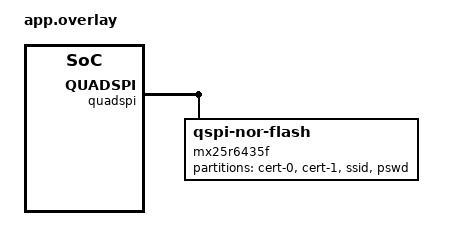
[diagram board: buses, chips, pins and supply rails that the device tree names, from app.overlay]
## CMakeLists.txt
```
cmake_minimum_required(VERSION 3.20.0)

find_package(Zephyr REQUIRED HINTS $ENV{ZEPHYR_BASE})
project(disco_wifi_socket)

FILE(GLOB app_sources src/*.c)
target_sources(app PRIVATE ${app_sources})

set(gen_dir ${ZEPHYR_BINARY_DIR}/include/generated/)

generate_inc_file_for_target(
    app
    certs/CA.der
    ${gen_dir}/CA.der.inc
)
```

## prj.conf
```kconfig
# Wifi config
CONFIG_MAIN_STACK_SIZE=8192
CONFIG_WIFI=y
CONFIG_NETWORKING=y
CONFIG_NET_NATIVE=y
CONFIG_NET_SOCKETS=y
CONFIG_NET_IPV4=y
CONFIG_NET_TCP=y
CONFIG_NET_OFFLOAD=y
CONFIG_NET_SOCKETS_OFFLOAD=n

# Increase these values to increase window size
CONFIG_NET_TCP_MAX_RECV_WINDOW_SIZE=5120
CONFIG_NET_BUF_RX_COUNT=50
CONFIG_NET_BUF_TX_COUNT=10
CONFIG_NET_PKT_RX_COUNT=5
CONFIG_NET_PKT_TX_COUNT=6
CONFIG_NET_BUF_DATA_SIZE=146

# Shell
CONFIG_SHELL=y
CONFIG_SHELL_STACK_SIZE=8192
# CONFIG_NET_SHELL=y

# FLash
CONFIG_FLASH=y
CONFIG_FLASH_MAP=y
CONFIG_STREAM_FLASH=y
CONFIG_FLASH_PAGE_LAYOUT=y
CONFIG_FLASH_SHELL=y

# Logs
# CONFIG_LOG=y
# CONFIG_NET_LOG=y
# Deferred logging. Log messages are buffered and processed later. This mode has the least impact on the application. 
# CONFIG_LOG_MODE_DEFERRED=y
# Log is processed in the context of the call. It impacts performance of the system.
CONFIG_LOG_MODE_IMMEDIATE=y

# DFU 
CONFIG_REBOOT=y
CONFIG_IMG_MANAGER=y
CONFIG_MCUBOOT_IMG_MANAGER=y
CONFIG_BOOTLOADER_MCUBOOT=y
CONFIG_MCUBOOT_SIGNATURE_KEY_FILE="bootloader/mcuboot/mykey.pem"
# CONFIG_MCUBOOT_ENCRYPTION_KEY_FILE="bootloader/mcuboot/pub-key-rsa-2048.pem"
CONFIG_BOOT_BANNER=n
```

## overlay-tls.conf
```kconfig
# TLS configuration
CONFIG_MBEDTLS=y
CONFIG_MBEDTLS_BUILTIN=y
CONFIG_MBEDTLS_ENABLE_HEAP=y
CONFIG_MBEDTLS_HEAP_SIZE=16000
CONFIG_MBEDTLS_SSL_MAX_CONTENT_LEN=2048
CONFIG_MBEDTLS_PEM_CERTIFICATE_FORMAT=y

# Ciphers suites
CONFIG_MBEDTLS_KEY_EXCHANGE_RSA_ENABLED=y
CONFIG_MBEDTLS_KEY_EXCHANGE_DHE_RSA_ENABLED=y
CONFIG_MBEDTLS_CIPHER_AES_ENABLED=y
CONFIG_MBEDTLS_HASH_SHA384_ENABLED=y
CONFIG_MBEDTLS_CIPHER_GCM_ENABLED=y
CONFIG_MBEDTLS_DEBUG=y
# CONFIG_MBEDTLS_LOG_LEVEL_DBG=y

# TLS Sockets configuration
CONFIG_NET_SOCKETS_SOCKOPT_TLS=y
CONFIG_NET_SOCKETS_OFFLOAD_DISPATCHER=y
```

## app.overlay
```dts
&quadspi {
	mx25r6435f: qspi-nor-flash@90000000 {

		partitions {
    
            cert0_partition: partition@d4000 {
                label = "cert-0";
                reg = <0x000d4000 0x00001000>;  /* DT_SIZE_K(4) */
            };

            cert1_partition: partition@d6000 {
                label = "cert-1";
                reg = <0x000d6000 0x00001000>;  /* DT_SIZE_K(4) */
            };

            ssid_partition: partition@d8000 {
                label = "ssid";
                reg = <0x000d8000 0x00001000>;  /* DT_SIZE_K(4) */
            };

            pswd_partition: partition@da000 {
                label = "pswd";
                reg = <0x000da000 0x00001000>;  /* DT_SIZE_K(4) */
            };
        };
    };
};
```

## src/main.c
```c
// Includes
#include <zephyr/kernel.h>
#include <zephyr/device.h>
#include <string.h>
#include "common.h"
#include <zephyr/logging/log.h>
#include "ca_certificate.h"
#include <zephyr/dfu/mcuboot.h>

// Main
int main(void){
	if (boot_write_img_confirmed()<0) {
		printf("\r\nCan't confirm image\r\n");
	}
	
	k_thread_suspend(blink_led_id);

	// First firmware flash then comment
	flash_load_first_cert(ca_certificate);

	WiFi_Init();
	// wifi_connect_if_cred_registered();

	return 0;
}
```

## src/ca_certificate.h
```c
#ifndef __CA_CERTIFICATE_H__
#define __CA_CERTIFICATE_H__

#define CA_CERTIFICATE_TAG 1
#define TLS_PEER_HOSTNAME "tintin"

static unsigned char ca_certificate[] = {
#include "CA.der.inc"
};

#endif /* __CA_CERTIFICATE_H__ */
```

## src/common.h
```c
#ifndef __COMMON_H__
#define __COMMON_H__

#include <zephyr/kernel.h>

#define MAX_SIZE_BUFFER         2048
#define CERT_SIZE               779
#define FLASH_SECTOR_SIZE		4096
#define SLOT1_PARTITION_SIZE	FIXED_PARTITION_SIZE(slot1_partition)
#define LED0_NODE DT_ALIAS(led0)

// Global variables
static char dataToRecv[MAX_SIZE_BUFFER];

extern const k_tid_t blink_led_id;

extern int state_wifi;

#define HTTP_HOST "https://172.20.10.3" 
#define HTTP_PORT 443
#define REQUEST /*"GET " HTTP_PATH*/ " HTTP/1.0\r\nHost: " HTTP_HOST "\r\n\r\n"

int Socket_Init(void);
int Socket_Send(char *);
int Socket_Close(void);
int Socket_Receive(char*);
int Socket_Receive_to_tab(char*);
int Socket_Receive_firmware_to_flash(void);

void WiFi_Init(void);
int connect_WiFi(char*,char*);

void LED_ON(void);
void LED_OFF(void);
void LED_Init(void);

int flash_load_first_cert(char*);
int flash_load_new_cert(char*);
char* flash_read_cert(int);
int swap_certs(void);
int register_wifi_cred(char* , char* );
int wifi_connect_if_cred_registered(void);



int http_get_new_cert(char*);

void progress_bar(int, int);

#endif
```

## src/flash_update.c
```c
#include <zephyr/device.h>
#include <zephyr/drivers/flash.h>
#include <zephyr/kernel.h>
#include <zephyr/storage/flash_map.h>
#include <zephyr/devicetree.h>
#include <stdio.h>
#include <zephyr/logging/log.h>
#include "common.h"

#define cert0_PARTITION		    cert0_partition
#define cert0_PARTITION_ID	    FIXED_PARTITION_ID(cert0_PARTITION)
#define cert0_PARTITION_DEV	    FIXED_PARTITION_DEVICE(cert0_PARTITION)

#define cert1_PARTITION		    cert1_partition
#define cert1_PARTITION_ID	    FIXED_PARTITION_ID(cert1_PARTITION)
#define cert1_PARTITION_DEV	    FIXED_PARTITION_DEVICE(cert1_PARTITION)

#define SSID_PARTITION          ssid_partition
#define SSID_PARTITION_ID	    FIXED_PARTITION_ID(SSID_PARTITION)
#define SSID_PARTITION_DEV	    FIXED_PARTITION_DEVICE(SSID_PARTITION)

#define PSWD_PARTITION          pswd_partition
#define PSWD_PARTITION_ID	    FIXED_PARTITION_ID(PSWD_PARTITION)
#define PSWD_PARTITION_DEV	    FIXED_PARTITION_DEVICE(PSWD_PARTITION)

#define SSID_SIZE               11
#define PSWD_SIZE               10


LOG_MODULE_REGISTER(flash_update, LOG_LEVEL_DBG);


int flash_load_first_cert(char * cert){
    const struct device *flash_dev;
    off_t fa;

    fa = FIXED_PARTITION_OFFSET(cert0_PARTITION);
    flash_dev = DEVICE_DT_GET(DT_CHOSEN(zephyr_flash_controller));

    LOG_INF("fa_offset : 0x%x", fa);
    LOG_INF("fa_dev : %s", flash_dev->name);
    
    if (!device_is_ready(flash_dev)) {
		LOG_ERR("%s: device not ready.\n", flash_dev->name);
		return 0;
	}

    if(flash_erase(flash_dev, fa, FLASH_SECTOR_SIZE)<0){
        LOG_ERR("Error during flash erase");
        return 0;
    }

    if(flash_write(flash_dev, fa, cert, CERT_SIZE)<0){
        LOG_ERR("Error during flash write");
        return 0;
    }

    LOG_INF("First certificate loaded successfully");
    
    return 1;
}

int flash_load_new_cert(char * cert){
    const struct device *flash_dev;
    off_t fa;

    fa = FIXED_PARTITION_OFFSET(cert1_PARTITION);
    flash_dev = DEVICE_DT_GET(DT_CHOSEN(zephyr_flash_controller));

    LOG_INF("fa_offset : 0x%x", fa);
    LOG_INF("fa_dev : %s", flash_dev->name);
    
    if (!device_is_ready(flash_dev)) {
		LOG_ERR("%s: device not ready.\n", flash_dev->name);
		return 0;
	}

    if(flash_erase(flash_dev, fa, FLASH_SECTOR_SIZE)<0){
        LOG_ERR("Error during flash erase");
        return 0;
    }

    if(flash_write(flash_dev, fa, cert, CERT_SIZE)<0){
        LOG_ERR("Error during flash write");
        return 0;
    }

    LOG_INF("New certificate loaded successfully");
    
    return 1;
}

int flash_update_cert(void){
    return 1;
}

char * flash_read_cert(int part_number){
    char *cert;
    const struct device *flash_dev;
    off_t fa;

    if (!part_number) {
        cert = malloc(CERT_SIZE);  
        if (cert == NULL) {
            LOG_ERR("Memory allocation failed.");
            return NULL;
        }
        fa = FIXED_PARTITION_OFFSET(cert0_PARTITION);
        flash_dev = DEVICE_DT_GET(DT_NODELABEL(mx25r6435f));
    }
    else {
        cert = malloc(CERT_SIZE);  
        if (cert == NULL) {
            LOG_ERR("Memory allocation failed.");
            return NULL;
        }
        fa = FIXED_PARTITION_OFFSET(cert1_PARTITION);
        flash_dev = DEVICE_DT_GET(DT_NODELABEL(mx25r6435f));
    }
    

    if (!device_is_ready(flash_dev)) {
		LOG_ERR("%s: device not ready.\n", flash_dev->name);
		return 0;
	}

    if(flash_read(flash_dev, fa, cert, CERT_SIZE)<0){
        LOG_ERR("Error during flash read");
        return 0;
    }

    // LOG_HEXDUMP_INF(cert, CERT_SIZE, "CERT BUFFER CONTENT");

    return cert;
}

int swap_certs() {
    char *cert;
    char *new_cert;

    // Read partition 1
    cert = flash_read_cert(0);

    // Read partition 2
    new_cert = flash_read_cert(1);

    // Write partition 1
    flash_load_first_cert(new_cert);

    // Write partition 2
    flash_load_new_cert(cert);

    free(new_cert);
    free(cert);

    LOG_INF("Partitions swapped successfully");

    return 1;
}

int register_wifi_cred(char* ssid, char* pswd){
    const struct device *flash_dev;
    off_t fa_ssid;
    off_t fa_pswd;

    fa_ssid = FIXED_PARTITION_OFFSET(SSID_PARTITION);
    fa_pswd = FIXED_PARTITION_OFFSET(PSWD_PARTITION);

    flash_dev = DEVICE_DT_GET(DT_CHOSEN(zephyr_flash_controller));

    LOG_INF("fa_dev : %s", flash_dev->name);
    
    if (!device_is_ready(flash_dev)) {
		LOG_ERR("%s: device not ready.\n", flash_dev->name);
		return 0;
	}

    if(flash_erase(flash_dev, fa_ssid, FLASH_SECTOR_SIZE)<0){
        LOG_ERR("Error during flash erase");
        return 0;
    }

    if(flash_erase(flash_dev, fa_pswd, FLASH_SECTOR_SIZE)<0){
        LOG_ERR("Error during flash erase");
        return 0;
    }

    if(flash_write(flash_dev, fa_ssid, ssid, SSID_SIZE)<0){
        LOG_ERR("Error during flash write");
        return 0;
    }

    if(flash_write(flash_dev, fa_pswd, pswd, PSWD_SIZE)<0){
        LOG_ERR("Error during flash write");
        return 0;
    }

    LOG_INF("Wi-Fi cred loaded successfully");
    
    return 1;
}

int wifi_connect_if_cred_registered(void){
    const struct device *flash_dev;
    off_t fa_ssid;
    off_t fa_pswd;
    char* ssid;
    char* pswd;

    printf("\r\nTrying to connect to wifi\r\n");

    ssid = malloc(SSID_SIZE-1);
    if (ssid == NULL) {
        LOG_ERR("Memory allocation failed.");
        return 0;
    }
    pswd = malloc(PSWD_SIZE-2);
    if (pswd == NULL) {
        LOG_ERR("Memory allocation failed.");
        return 0;
    }

    fa_ssid = FIXED_PARTITION_OFFSET(SSID_PARTITION);
    fa_pswd = FIXED_PARTITION_OFFSET(PSWD_PARTITION);

    flash_dev = DEVICE_DT_GET(DT_CHOSEN(zephyr_flash_controller));

    if (!device_is_ready(flash_dev)) {
		LOG_ERR("%s: device not ready.\n", flash_dev->name);
        free(ssid);
        free(pswd);
		return 0;
	}

    if(flash_read(flash_dev, fa_ssid, ssid, SSID_SIZE)<0){
        LOG_ERR("Error during flash read");
        free(ssid);
        free(pswd);
        return 0;
    }

    if(flash_read(flash_dev, fa_pswd, pswd, PSWD_SIZE)<0){
        LOG_ERR("Error during flash read");
        free(ssid);
        free(pswd);
        return 0;
    }

    printf("\r\nSSID : %s\r\n", ssid);
    printf("\r\nPSWD : %s\r\n", pswd);

    if(strcmp(ssid[0], 0xff)==0){
        LOG_INF("Wifi creds not registered");
        return 0;
    }
    
    if(!connect_WiFi(ssid,pswd)) {
        free(ssid);
        free(pswd);
        return 0;
    }

    free(ssid);
    free(pswd);
    state_wifi=1;
    printf("\r\nSuccessfully connected to Wi-Fi\r\n");
    return 1;

}
```

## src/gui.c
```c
#include <stdio.h>
#include "common.h"

void progress_bar(int progress, int max){
    const int bar_width = 30;
    int filled_length = (progress * bar_width) / max;
    int remaining_length = bar_width - filled_length;
    int percentage = (progress*100)/max;
    if (percentage>=100) {
        percentage = 100;
    }
    if(percentage==1){
        for (int i = 0; i<100; i++) {
            printf(" ");
        }
        printf("\r");
    }
    

    printf("[");
    for (int i = 0; i < filled_length; i++) {
        printf("#");
    }
    for (int i = 0; i < remaining_length; i++) {
        printf(".");
    }
    printf("] %3d%%\r", percentage);
    fflush(stdout); 
}
```

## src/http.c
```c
#include <zephyr/kernel.h>
#include <zephyr/logging/log.h>
#include <stdlib.h>
#include "common.h"

#define CERT_PATH "/certs/CA.pem"
#define REQUEST_NEW_CERT "GET " CERT_PATH " HTTP/1.0\r\nHost: " HTTP_HOST "\r\n\r\n"

int http_get_new_cert(char* new_cert){
    Socket_Init();
    Socket_Send(REQUEST_NEW_CERT);
    Socket_Receive_to_tab(new_cert);
    Socket_Close();
    return 1;
}
```

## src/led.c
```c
#include <zephyr/drivers/gpio.h>
#include <zephyr/logging/log.h>
#include "common.h"

LOG_MODULE_REGISTER(led, LOG_LEVEL_DBG);

static const struct gpio_dt_spec led = GPIO_DT_SPEC_GET(LED0_NODE, gpios);

void LED_ON(void){
	gpio_pin_set_dt(&led,1);
	LOG_INF("LED ON");
}

void LED_OFF(void){
	gpio_pin_set_dt(&led,0);
	LOG_INF("LED OFF");

}

void LED_Init(void){
	// Initialisation LED
	gpio_pin_configure_dt(&led, GPIO_OUTPUT_ACTIVE);
	LED_OFF();
	LOG_INF("LED initialized");
}
```

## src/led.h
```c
#ifndef SRC_LED_H_
#define SRC_LED_H_

void LED_Init(void);
void LED_ON(void);
void LED_OFF(void);

#endif /* SRC_LED_H_ */
```

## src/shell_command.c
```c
#include <zephyr/kernel.h>
#include <zephyr/shell/shell.h>
#include <zephyr/logging/log.h>
#include <stdlib.h>
#include <zephyr/drivers/uart.h>
#include <zephyr/usb/usb_device.h>
#include <ctype.h>
#include "common.h"
#include <zephyr/net/tls_credentials.h>
#include "ca_certificate.h"
#include <zephyr/sys/reboot.h>
#include <zephyr/dfu/mcuboot.h>

int state_wifi=0;

// Led commands

SHELL_STATIC_SUBCMD_SET_CREATE(led_perso,
        SHELL_CMD_ARG(on, NULL, "Led ON", LED_ON,1,0),
        SHELL_CMD_ARG(off, NULL, "Led OFF", LED_OFF,1,0),
        SHELL_SUBCMD_SET_END
);

SHELL_CMD_REGISTER(led, &led_perso, "Wifi shell commands", NULL);


// Wifi commands

static int wifi_connect(const struct shell *sh,
                            size_t argc, char **argv)
{       
    if(!state_wifi){
        if(argc==3){
            static int ret = 0;
            ret = connect_WiFi(argv[1],argv[2]);
            if(!ret){
                shell_print(sh, "Error when trying to connect");
            }
            else{
                shell_print(sh, "Successfully connected");
                state_wifi=1;
                ret = register_wifi_cred(argv[1] , argv[2]);
                if (!ret) {
                    shell_print(sh, "Error during wifi cred registration");
                }
                return 1;
            }
        }
        else if(argc<3){
            shell_print(sh, "Too few arguments");
            return 0;         
        }
        else{
            shell_print(sh, "Too much arguments");          
            return 0;         
        }
    }
    else {
        shell_print(sh, "Already connected to Wi-Fi");
    }
}

SHELL_STATIC_SUBCMD_SET_CREATE(wifi_perso,
        SHELL_CMD_ARG(connect, NULL, "Connect to Wi-Fi\n This command requires 2 arguments : wifi connect <SSID> <PSWD>", wifi_connect,1,2),
        SHELL_SUBCMD_SET_END
);

SHELL_CMD_REGISTER(wifi, &wifi_perso, "Wifi shell commands", NULL);


// HTTP commands

static int http_request(const struct shell *sh,
                            size_t argc, char **argv)
{
    if(state_wifi){
        if(argc==2){
            static int ret = 0;
            char* get_request[100];

            ret = Socket_Init();
            if(!ret){
                shell_print(sh, "Error during socket connection");
                Socket_Close();
                return 0;
            }
            strcpy(get_request,"GET ");        
            strcat(get_request,argv[1]);
            strcat(get_request,REQUEST);

            ret = Socket_Send(get_request);
            if(!ret){
                shell_print(sh, "Error while sending request");
                Socket_Close();
                return 0;
            }

            ret = Socket_Receive(dataToRecv);
            if(!ret){
                // shell_print(sh, "Error while receiving data");
                Socket_Close();
                return 0;
            }

            Socket_Close();

            return 1;
        }
        else{
            shell_print(sh, "Please specify the relative path of the file you want to get.");
        }
    }
    else{
        shell_print(sh, "Device not connected to wifi, please connect before sending http request.");
    }
}

SHELL_STATIC_SUBCMD_SET_CREATE(http_perso,
        SHELL_CMD_ARG(get, NULL, "Send HTTP request\n This command requires one argument : $ http get <file_relative_path>", http_request, 1, 1),
        SHELL_SUBCMD_SET_END
);

SHELL_CMD_REGISTER(http, &http_perso, "HTTP shell commands", NULL);


// Socket commands

static int socket_receive(const struct shell *sh,
                            size_t argc, char **argv)
{
    if(state_wifi){
        static int ret = 0;

        ret = Socket_Init();

        if(!ret){
            shell_print(sh, "Error during socket connection");
            Socket_Close();
            return 0;
        }

        ret = Socket_Receive(dataToRecv);

        if(!ret){
            shell_print(sh, "Error while receiving data");
            Socket_Close();
            return 0;
        }

        Socket_Close();

        return 1;
    }
    else{
        shell_print(sh, "Device not connected to wifi, please connect before using socket");
    }
}

static int socket_send(const struct shell *sh,
                            size_t argc, char **argv)
{
    if(state_wifi){
        if(argc==2){
            static int ret = 0;

            ret = Socket_Init();

            if(!ret){
                shell_print(sh, "Error during socket connection");
                Socket_Close();
                return 0;
            }
        
            ret = Socket_Send(argv[1]);

            if(!ret){
                shell_print(sh, "Error while receiving data");
                Socket_Close();
                return 0;
            }

            Socket_Close();

            return 1;
        }
        else{
            shell_print(sh, "PLease specify the data you want to send");
            return 0;
        }
    }
    else{
        shell_print(sh, "Device not connected to wifi, please connect before using socket");
    }
}

SHELL_STATIC_SUBCMD_SET_CREATE(socket_perso,
        SHELL_CMD_ARG(send, NULL, "Send data to a server\n This command requires one argument : socket send <data_to_send>", socket_send, 1, 1),
        SHELL_CMD_ARG(recv, NULL, "Receive data from a server", socket_receive, 1, 0),
        SHELL_SUBCMD_SET_END
);

SHELL_CMD_REGISTER(socket, &socket_perso, "Socket shell commands", NULL);


// Credentials commands

static int cred_show(const struct shell *sh,
                            size_t argc, char **argv)
{
    char *cert;
    shell_print(sh, "argc == %d et argv[1] = %s",argc, argv[1]);
    if(argc==2){
        if(!strcmp(argv[1],"0")){
            cert = flash_read_cert(0);
        }
        if(!strcmp(argv[1],"1")){
            cert = flash_read_cert(1);
        }
    }
    return 1;
}

static int cred_update(const struct shell *sh,
                            size_t argc, char **argv)
{
    static int ret;
    ret = Socket_Init();

    if(!ret){
        shell_print(sh, "Error during socket connection");
        Socket_Close();
        return 0;
    }

    char cert[1111];
    Socket_Receive_to_tab(cert);

    flash_load_new_cert(cert);

    // TEST NEW CERTS
    swap_certs();
    Socket_Close();

    sys_reboot(SYS_REBOOT_COLD);

    return 1;
}

SHELL_STATIC_SUBCMD_SET_CREATE(cred_perso,
        SHELL_CMD_ARG(show, NULL, "Show credentials", cred_show, 1, 1),
        SHELL_CMD_ARG(update, NULL, "Update credentials", cred_update, 1, 0),
        SHELL_SUBCMD_SET_END
);

SHELL_CMD_REGISTER(cred, &cred_perso, "Credentials shell commands", NULL);


// Firmware Update Commands

static int download_firmware(const struct shell *sh,
                            size_t argc, char **argv)
{
    static int ret;

    ret = Socket_Init();

    if(!ret){
        shell_print(sh, "Error during socket connection");
        Socket_Close();
        return 0;
    }
    
    k_thread_resume(blink_led_id);

    ret = Socket_Receive_firmware_to_flash();

    if (!ret) {
        k_thread_suspend(blink_led_id);
        return 0;
    }
    
    Socket_Close();

    ret = boot_request_upgrade(BOOT_UPGRADE_TEST);
    if (ret) {
        shell_print(sh,"Failed to request upgrade (error %d)\r\n", ret);
    }
    else {
        shell_print(sh, "Upgrade requested, will swap slots on next reboot\r\n");
    }

    shell_print(sh, "Rebooting system...\n");

    k_sleep(K_MSEC(2000));

    sys_reboot(SYS_REBOOT_COLD);

    return 1;
}

static int rollback_firmware(const struct shell *sh,
                            size_t argc, char **argv)
{
    int ret;
    ret = boot_request_upgrade(BOOT_UPGRADE_TEST);
    if (ret) {
        shell_print(sh,"Failed to request rollback (error %d)\r\n", ret);
    }
    else {
        shell_print(sh, "Rollback requested, will swap slots on next reboot\r\n");
    }

    shell_print(sh, "\r\nRebooting system...\r\n");

    k_sleep(K_MSEC(2000));

    sys_reboot(SYS_REBOOT_COLD);

    return 1;
}

SHELL_STATIC_SUBCMD_SET_CREATE(dfu_perso,
        SHELL_CMD_ARG(download, NULL, "Upgrade firmware to the latest version", download_firmware, 1, 0),
        SHELL_CMD_ARG(rollback, NULL, "Rollback firmware to the previous version", rollback_firmware, 1, 0),
        SHELL_SUBCMD_SET_END
);

SHELL_CMD_REGISTER(dfu, &dfu_perso, "DFU shell commands", NULL);

static int reboot_target_cold(const struct shell *sh,
                            size_t argc, char **argv)
{
    shell_print(sh, "\r\nRebooting system...\r\n");

    k_sleep(K_MSEC(2000));

    sys_reboot(SYS_REBOOT_COLD);

    return 1;
}

static int reboot_target_warm(const struct shell *sh,
                            size_t argc, char **argv)
{
    shell_print(sh, "\r\nRebooting system...\r\n");

    k_sleep(K_MSEC(2000));

    sys_reboot(SYS_REBOOT_WARM);

    return 1;
}

SHELL_STATIC_SUBCMD_SET_CREATE(reboot_perso,
        SHELL_CMD_ARG(cold, NULL, "Cold reboot of the target", reboot_target_cold, 1, 0),
        SHELL_CMD_ARG(warm, NULL, "Warm reboot of the target", reboot_target_warm, 1, 0),
        SHELL_SUBCMD_SET_END
);

SHELL_CMD_REGISTER(reboot, &reboot_perso, "Reboot shell commands", NULL);
```

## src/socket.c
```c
#include <zephyr/net/socket.h>
#include <errno.h>
#include <fcntl.h>
#include <unistd.h>
#include "common.h"
#include "ca_certificate.h"
#include <zephyr/net/tls_credentials.h>
#include <zephyr/logging/log.h>
#include <zephyr/drivers/flash.h>
#include <zephyr/kernel.h>
#include <zephyr/storage/flash_map.h>
#include <zephyr/devicetree.h>
// #include <zephyr/pm_config.h>

LOG_MODULE_REGISTER(socket, LOG_LEVEL_DBG);

#define IP_ADDRESS "172.20.10.3"

#define INVALID_SOCKET -1
#define SOCKET_ERROR -1

// Typedefs
typedef int SOCKET;
typedef struct sockaddr_in SOCKADDR_IN;
typedef struct sockaddr SOCKADDR;
typedef struct in_addr IN_ADDR;

SOCKET sock;

int Socket_Init(void){
	static int flag = 0;
	SOCKADDR_IN mysin = { 0 };

	int ret = -1, count = 0;

	if (!flag){
		// Add credentials
		char *cert = flash_read_cert(0);

		// LOG_HEXDUMP_INF(cert, 779, "CERT BUFFER CONTENT");

		#if defined(CONFIG_NET_SOCKETS_SOCKOPT_TLS)
			ret = tls_credential_add(CA_CERTIFICATE_TAG, TLS_CREDENTIAL_CA_CERTIFICATE, cert, CERT_SIZE);
			if (ret < 0) {
				LOG_ERR("Error during credentials registration");
				return 0;
			}
		#endif

		free(cert);

		flag++;
	}

	// Socket Creation
	#if defined(CONFIG_NET_SOCKETS_SOCKOPT_TLS)
	    sock = zsock_socket(AF_INET, SOCK_STREAM, IPPROTO_TLS_1_2);
	#else
	    sock = zsock_socket(AF_INET, SOCK_STREAM, IPPROTO_TCP);
	#endif

	if (sock == INVALID_SOCKET) {
		LOG_ERR("Error during socket creation");
		return 0;
	}
	else {
		LOG_INF("Created socket : %d", sock);
	}

	// Socket Configuration
	net_addr_pton(AF_INET,IP_ADDRESS,&mysin.sin_addr);
	mysin.sin_port = htons(HTTP_PORT);
	mysin.sin_family = AF_INET;

	#if defined(CONFIG_NET_SOCKETS_SOCKOPT_TLS)

		// Remove offloading of TLS stack
		struct ifreq ifreq = {
			.ifr_name = "wlan0"
		};

		int tls_native = 1;
		ret = zsock_setsockopt(sock, SOL_TLS, TLS_NATIVE, &tls_native, sizeof(tls_native));
		if(ret < 0){
			LOG_ERR("Failed to set TLS option");
			return 0;
		}
		
		ret = zsock_setsockopt(sock, SOL_SOCKET, SO_BINDTODEVICE, &ifreq, sizeof(ifreq));
		if(ret < 0){
			LOG_ERR("Failed to bind socket to device, setsockopt returns : %d", ret);
			LOG_ERR("Errno : %s",strerror(errno));
			return 0;
		}

		// Set peer verification to : 0 (none), 1 (optionnal), 2 (required)
		int peer_verify = 2;
		ret = zsock_setsockopt(sock, SOL_TLS, TLS_PEER_VERIFY, &peer_verify, sizeof(peer_verify));
		if (ret < 0) {
			LOG_ERR("Error during socket creation");
			return 0;
		}
		
		// Add tag(s) that could be certificate, private key, pre-shared key... (Cf Add credentials)
		sec_tag_t sec_tag_list[] = { CA_CERTIFICATE_TAG };

		ret = zsock_setsockopt(sock, SOL_TLS, TLS_SEC_TAG_LIST,sec_tag_list, sizeof(sec_tag_list));
		if (ret < 0) {
			LOG_ERR("Failed to set TLS_SEC_TAG_LIST (rc %d, errno %d)", ret, errno);
			return 0;
		}

		ret = zsock_setsockopt(sock, SOL_TLS, TLS_HOSTNAME, TLS_PEER_HOSTNAME, sizeof(TLS_PEER_HOSTNAME));
		if (ret < 0) {
			LOG_ERR("Failed to set TLS_HOSTNAME option (rc %d, errno %d)", ret, errno);
			return 0;
		}

	#endif
	
	// Socket Connection
	while(zsock_connect(sock,(SOCKADDR *) &mysin, sizeof(SOCKADDR))<0){
		count++;
		LOG_WRN("Retrying to connect...");
	    k_sleep(K_MSEC(1000));
		if(count>=15){
			LOG_ERR("Cannot connect");
			return 0;
		}
	}
	LOG_INF("Connection success");
	return 1;
}

int Socket_Send(char * data){
    if(zsock_send(sock, data, strlen(data), 0) < 0)
	{
		LOG_ERR("Send error (send())");
		return 0;
	}
	else{
		LOG_INF("Send succeeded, message : '%s' (send())",data);
		k_sleep(K_MSEC(2000));
		return 1;
	}
}

int Socket_Receive(char* data){
	static int n = 0,total=0;
	printf("\r\n\r\nData received : \r\n\r\n");
	while (1) {
		n = zsock_recv(sock, data, MAX_SIZE_BUFFER - 1, 0);
		total+=n;
		if (n < 0) {
			// LOG_ERR("Error reading response");
			break;
		}
		if (n == 0) {
			break;
		}
		data[n] = 0;
		printf("%s", data);
		//Remplacer printf par écriture en flash
	}
	printf("\r\n");
	printf("\r\nTotal bytes received : %d\r\n",total);
	n=0;
	total=0;
	return 1;
}

int Socket_Receive_to_tab(char* data){
	static int n = 0;
	n = zsock_recv(sock, data, MAX_SIZE_BUFFER, 0);
	printf("%s", data);
	return 1;
}

int Socket_Receive_firmware_to_flash(){
	uint32_t n = 0, remaining_size = FLASH_SECTOR_SIZE;
	int ret = 0;
	const struct device *flash_dev;
    off_t dfu_flash_offset;
	char buf_to_write[FLASH_SECTOR_SIZE];
	size_t partition_size;

	partition_size = FIXED_PARTITION_SIZE(slot1_partition);
    dfu_flash_offset = FIXED_PARTITION_OFFSET(slot1_partition);
    flash_dev = DEVICE_DT_GET(DT_CHOSEN(zephyr_flash_controller));

    LOG_INF("dfu_flash_offset_offset : 0x%x", dfu_flash_offset);
    LOG_INF("dfu_flash_offset_dev : %s", flash_dev->name);

	if (!device_is_ready(flash_dev)) {
		LOG_ERR("%s: device not ready.\n", flash_dev->name);
		return 0;
	}

	printf("\r\nErasing second slot...\r\n");

	for (int i = 0; i<partition_size; i+=FLASH_SECTOR_SIZE) {
		ret = flash_erase(flash_dev, dfu_flash_offset+i, FLASH_SECTOR_SIZE);
		if(ret<0){
			printf("\r\nError during flash erase\r\n");
		}
		progress_bar(i,partition_size-FLASH_SECTOR_SIZE);
	}
	
	printf("\r\nSecond slot erased successfully\r\n");

	printf("\r\nDownloading firmware...\r\n");

	while (1) {
		int total_bytes_received = 0;
    
    	while (total_bytes_received < FLASH_SECTOR_SIZE) {
			int bytes_remaining = FLASH_SECTOR_SIZE - total_bytes_received;
			
			n = zsock_recv(sock, buf_to_write + total_bytes_received, bytes_remaining, 0);
			
			if (n < 0) {
				return 0;
			} 
			else if (n == 0) {
				break;
			}
			
			total_bytes_received += n;
    	}
				
		ret = flash_write(flash_dev, dfu_flash_offset, buf_to_write, FLASH_SECTOR_SIZE);

		if (ret<0) {
			LOG_ERR("Error during flash write");
			printf("\r\nError during downloading\r\n");
			return 0;
		}
		dfu_flash_offset+=FLASH_SECTOR_SIZE;
		progress_bar(dfu_flash_offset,250000);
		if (0 == n) {
			break;
		}

	}
	printf("\r\nFirmware downloaded successfully\r\n\r\n");

	return 1;
}

int Socket_Close(void){
	zsock_close(sock);
	LOG_INF("Socket closed");
}
```

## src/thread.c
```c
#include <zephyr/kernel.h>
#include <zephyr/drivers/gpio.h>
#include "common.h"

#define STACK_SIZE 1024
#define PRIORITY 7

static const struct gpio_dt_spec led = GPIO_DT_SPEC_GET(LED0_NODE, gpios);

void blink_led() {
    static int led_state = 0;

    while (1) {
	    gpio_pin_set_dt(&led,led_state);
        k_msleep(500);
        led_state = !led_state;
    }
}

K_THREAD_DEFINE(blink_led_id, STACK_SIZE, blink_led, NULL, NULL, NULL, PRIORITY, 0, 0);
```

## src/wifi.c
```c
#include <stdio.h>
#include <zephyr/kernel.h>
#include <zephyr/device.h>
#include <zephyr/net/socket.h>
#include <zephyr/net/wifi_mgmt.h>
#include <zephyr/net/net_event.h>
#include <zephyr/net/net_mgmt.h>
#include <zephyr/net/net_ip.h>
#include <zephyr/net/net_if.h>
#include "wifi.h"
#include "common.h"
#include <zephyr/logging/log.h>

LOG_MODULE_REGISTER(wifi, LOG_LEVEL_DBG);

// Defines
#define WIFI_MGMT_EVENTS (		NET_EVENT_WIFI_SCAN_RESULT |		\
								NET_EVENT_WIFI_SCAN_DONE |		\
								NET_EVENT_WIFI_CONNECT_RESULT |		\
								NET_EVENT_WIFI_DISCONNECT_RESULT)

// Variables
static struct k_sem wifi_connected;
static struct wifi_connect_req_params wifi_args;

// Functions
void Wifi_check_connect_result( struct net_if *iface, struct net_mgmt_event_callback* cb)
{
	const struct wifi_status *status = (const struct wifi_status *) cb->info;
	if (!status->status) {
		LED_ON();
		k_sem_give(&wifi_connected);
	}
}

void Wifi_event_listener( struct net_mgmt_event_callback *cb, uint32_t mgmt_event, struct net_if *iface ) {
	switch( mgmt_event ) {
		case NET_EVENT_WIFI_CONNECT_RESULT:
			Wifi_check_connect_result( iface, cb );
			break;
		case NET_EVENT_WIFI_DISCONNECT_RESULT:
			LOG_WRN("WiFi disconnected.");
			LED_OFF();
			break;
	}
}

void WiFi_Init(void){
	LED_Init();
	LOG_INF("WiFi initialisation...");
	k_sem_init(&wifi_connected, 0, 1);

	// Configuration Callback
	net_mgmt_init_event_callback(&cb, Wifi_event_listener, WIFI_MGMT_EVENTS );
	net_mgmt_add_event_callback(&cb);

	// Configuration des paramètres Wi-Fi
	wifi_args.security = WIFI_SECURITY_TYPE_PSK;
	wifi_args.channel = WIFI_CHANNEL_ANY;
	LOG_INF("WiFi initialisation done.");
}

int connect_WiFi(char* SSID, char* PSWD){
	wifi_args.ssid = SSID;
	wifi_args.psk = PSWD;
	wifi_args.ssid_length = strlen(SSID);
	wifi_args.psk_length = strlen(PSWD);

	LOG_INF("Connecting to WiFi...");
	// Requête de connexion au réseau
	struct net_if *iface = net_if_get_default();

	// Affichage du nom de l'interface réseau
	char iface_name[20];
	net_if_get_name(iface,iface_name,20);
	LOG_INF("Interface name : %s",iface_name);


	if( net_mgmt( NET_REQUEST_WIFI_CONNECT, iface, &wifi_args, sizeof(wifi_args) ) ) {
		LOG_ERR("Failed to request connection to %s",SSID);
		return 0;
	}
	k_sem_take(&wifi_connected, K_FOREVER);

	// Affichage de l'adresse IP de l'appareil sur le réseau
	struct net_if_ipv4 *ipv4 = iface->config.ip.ipv4;
	static char buf[NET_IPV4_ADDR_LEN];
	net_addr_ntop( AF_INET, (const char *)&ipv4->unicast[0].ipv4.address.in_addr, buf, NET_IPV4_ADDR_LEN);
	LOG_INF("Sucessfully connected to %s",SSID);
	LOG_INF("Assigned IP address [%s]", buf);
	return 1;
}
```

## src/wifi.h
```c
#ifndef SRC_WIFI_H_
#define SRC_WIFI_H_
#include <zephyr/net/net_if.h>

struct net_mgmt_event_callback* cb;
// Functions
void Wifi_check_connect_result( struct net_if *, struct net_mgmt_event_callback *);
void Wifi_event_listener( struct net_mgmt_event_callback *, uint32_t , struct net_if * );

#endif /* SRC_WIFI_H_ */
```
